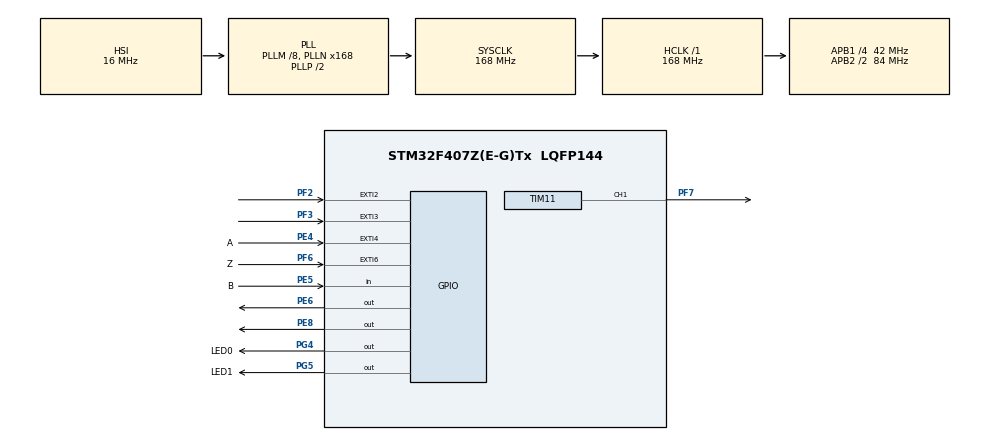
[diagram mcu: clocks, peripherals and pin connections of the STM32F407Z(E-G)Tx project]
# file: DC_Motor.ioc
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Mcu.Family=STM32F4
Mcu.Name=STM32F407Z(E-G)Tx
Mcu.Package=LQFP144
NVIC.EXTI2_IRQn=true\:0\:0\:false\:false\:true\:true\:true\:true
NVIC.EXTI4_IRQn=true\:0\:0\:false\:false\:true\:true\:true\:true
NVIC.PriorityGroup=NVIC_PRIORITYGROUP_4
NVIC.TIM1_TRG_COM_TIM11_IRQn=true\:0\:0\:false\:false\:true\:true\:true\:true
NVIC.TIM6_DAC_IRQn=true\:0\:0\:false\:false\:true\:true\:true\:true
NVIC.TIM7_IRQn=true\:0\:0\:false\:false\:true\:true\:true\:true
PE4.GPIO_Label=A
PE4.GPIO_ModeDefaultEXTI=GPIO_MODE_IT_RISING
PE4.Signal=GPXTI4
PE5.GPIO_Label=B
PE5.Signal=GPIO_Input
PE6.Signal=GPIO_Output
PE8.Signal=GPIO_Output
PF2.Signal=GPXTI2
PF3.Signal=GPXTI3
PF6.GPIO_Label=Z
PF6.Signal=GPXTI6
PF7.Signal=S_TIM11_CH1
PG4.GPIO_Label=LED0
PG4.Signal=GPIO_Output
PG5.GPIO_Label=LED1
PG5.Signal=GPIO_Output
ProjectManager.HeapSize=0x200
ProjectManager.StackSize=0x400
ProjectManager.TargetToolchain=STM32CubeIDE
RCC.48MHZClocksFreq_Value=84000000
RCC.AHBFreq_Value=168000000
RCC.APB1CLKDivider=RCC_HCLK_DIV4
RCC.APB1Freq_Value=42000000
RCC.APB1TimFreq_Value=84000000
RCC.APB2CLKDivider=RCC_HCLK_DIV2
RCC.APB2Freq_Value=84000000
RCC.APB2TimFreq_Value=168000000
RCC.CortexFreq_Value=168000000
RCC.HCLKFreq_Value=168000000
RCC.HSE_VALUE=25000000
RCC.HSI_VALUE=16000000
RCC.LSE_VALUE=32768
RCC.PLLM=8
RCC.PLLN=168
RCC.SYSCLKFreq_VALUE=168000000
RCC.SYSCLKSource=RCC_SYSCLKSOURCE_PLLCLK
RCC.VCOOutputFreq_Value=336000000
SH.S_TIM11_CH1.0=TIM11_CH1,PWM Generation1 CH1
TIM11.AutoReloadPreload=TIM_AUTORELOAD_PRELOAD_DISABLE
TIM11.Channel=TIM_CHANNEL_1
TIM11.Period=999
TIM11.Prescaler=10
TIM6.AutoReloadPreload=TIM_AUTORELOAD_PRELOAD_ENABLE
TIM6.Period=9999
TIM6.Prescaler=839
TIM6.TIM_MasterOutputTrigger=TIM_TRGO_UPDATE
TIM7.AutoReloadPreload=TIM_AUTORELOAD_PRELOAD_ENABLE
TIM7.Period=9999
TIM7.Prescaler=41
TIM7.TIM_MasterOutputTrigger=TIM_TRGO_UPDATE
VP_TIM11_VS_ClockSourceINT.Mode=Enable_Timer
VP_TIM6_VS_ClockSourceINT.Mode=Enable_Timer
VP_TIM7_VS_ClockSourceINT.Mode=Enable_Timer
board=custom

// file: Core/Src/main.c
/* USER CODE BEGIN Header */
/**
  ******************************************************************************
  * @file           : main.c
  * @brief          : Main program body
  ******************************************************************************
  * @attention
  *
  * Copyright (c) 2024 STMicroelectronics.
  * All rights reserved.
  *
  * This software is licensed under terms that can be found in the LICENSE file
  * in the root directory of this software component.
  * If no LICENSE file comes with this software, it is provided AS-IS.
  *
  ******************************************************************************
  */
/* USER CODE END Header */
#include "main.h"

TIM_HandleTypeDef htim6;
TIM_HandleTypeDef htim7;
TIM_HandleTypeDef htim11;

/* USER CODE BEGIN PV */
int i=0, v=0, counter = 0;
int i_current = 0;
float angle =0 , velocity = 0, V = 800, A = 0;
uint8_t direction =0;
float K_P = 0.01f, K_I = 0.2f, K_a = 0.05f;
int Ts = 10;
float e=0, e_pre=0, u=0, u_pre=0;
/* USER CODE END PV */

void SystemClock_Config(void);
static void MX_GPIO_Init(void);
static void MX_TIM6_Init(void);
static void MX_TIM11_Init(void);
static void MX_TIM7_Init(void);

/* USER CODE BEGIN 0 */

float getVelocity(void){
	int abs_v = v>0? v:-v;
	return (abs_v * 200.0 * 60.0 /1024.0);
}

float getAngle(void){
	return i_current%1024 * 360.0 /1024.0;
}

uint8_t getDir(void){
	return i>0 ? 1:0;
}

void setDir(uint8_t dir){
	HAL_GPIO_WritePin(GPIOE, GPIO_PIN_6, dir);
}

void setDuty(uint16_t duty){
	TIM11->CCR1 = duty;
}

void setTs(uint8_t Ts){
	TIM6->ARR = Ts*100-1;
}

void turnLED(uint8_t led,uint8_t status){
	if (led==0){
		HAL_GPIO_WritePin(LED0_GPIO_Port, LED0_Pin, status);
	}
	else if (led==1){
		HAL_GPIO_WritePin(LED1_GPIO_Port, LED1_Pin, status);
	}
}

void Vout2PWM(float u){
	float abs_u = u>0? u:-u;
	if(u>=-12 && u<=12)
		setDuty(abs_u/12*1000);
	else
		setDuty(1000);
	setDir(u<0 ? 1:0);
}

/* USER CODE END 0 */

int main(void)
{

  /* MCU Configuration--------------------------------------------------------*/

  /* Reset of all peripherals, Initializes the Flash interface and the Systick. */
  HAL_Init();

  /* Configure the system clock */
  SystemClock_Config();

  /* Initialize all configured peripherals */
  MX_GPIO_Init();
  MX_TIM6_Init();
  MX_TIM11_Init();
  MX_TIM7_Init();
  /* USER CODE BEGIN 2 */

  HAL_TIM_Base_Start_IT(&htim6);
  HAL_TIM_Base_Start_IT(&htim7);
  TIM11->CCR1 = 0;
  HAL_TIM_PWM_Start(&htim11, TIM_CHANNEL_1);

  setTs(Ts);
  /* USER CODE END 2 */

  /* Infinite loop */
  /* USER CODE BEGIN WHILE */
  while (1)
  {
	  angle = getAngle();
	  velocity = getVelocity();
	  direction = getDir();
	  HAL_Delay(800);
	  turnLED(0,1);
	  HAL_Delay(800);
	  turnLED(0,0);
    /* USER CODE END WHILE */

  }
}

void SystemClock_Config(void)
{
  RCC_OscInitTypeDef RCC_OscInitStruct = {0};
  RCC_ClkInitTypeDef RCC_ClkInitStruct = {0};

  /** Configure the main internal regulator output voltage
  */
  __HAL_RCC_PWR_CLK_ENABLE();
  __HAL_PWR_VOLTAGESCALING_CONFIG(PWR_REGULATOR_VOLTAGE_SCALE1);

  /** Initializes the RCC Oscillators according to the specified parameters
  * in the RCC_OscInitTypeDef structure.
  */
  RCC_OscInitStruct.OscillatorType = RCC_OSCILLATORTYPE_HSI;
  RCC_OscInitStruct.HSIState = RCC_HSI_ON;
  RCC_OscInitStruct.HSICalibrationValue = RCC_HSICALIBRATION_DEFAULT;
  RCC_OscInitStruct.PLL.PLLState = RCC_PLL_ON;
  RCC_OscInitStruct.PLL.PLLSource = RCC_PLLSOURCE_HSI;
  RCC_OscInitStruct.PLL.PLLM = 8;
  RCC_OscInitStruct.PLL.PLLN = 168;
  RCC_OscInitStruct.PLL.PLLP = RCC_PLLP_DIV2;
  RCC_OscInitStruct.PLL.PLLQ = 4;
  if (HAL_RCC_OscConfig(&RCC_OscInitStruct) != HAL_OK)
  {
    Error_Handler();
  }

  /** Initializes the CPU, AHB and APB buses clocks
  */
  RCC_ClkInitStruct.ClockType = RCC_CLOCKTYPE_HCLK|RCC_CLOCKTYPE_SYSCLK
                              |RCC_CLOCKTYPE_PCLK1|RCC_CLOCKTYPE_PCLK2;
  RCC_ClkInitStruct.SYSCLKSource = RCC_SYSCLKSOURCE_PLLCLK;
  RCC_ClkInitStruct.AHBCLKDivider = RCC_SYSCLK_DIV1;
  RCC_ClkInitStruct.APB1CLKDivider = RCC_HCLK_DIV4;
  RCC_ClkInitStruct.APB2CLKDivider = RCC_HCLK_DIV2;

  if (HAL_RCC_ClockConfig(&RCC_ClkInitStruct, FLASH_LATENCY_5) != HAL_OK)
  {
    Error_Handler();
  }
}

static void MX_TIM6_Init(void)
{

  TIM_MasterConfigTypeDef sMasterConfig = {0};

  htim6.Instance = TIM6;
  htim6.Init.Prescaler = 839;
  htim6.Init.CounterMode = TIM_COUNTERMODE_UP;
  htim6.Init.Period = 9999;
  htim6.Init.AutoReloadPreload = TIM_AUTORELOAD_PRELOAD_ENABLE;
  if (HAL_TIM_Base_Init(&htim6) != HAL_OK)
  {
    Error_Handler();
  }
  sMasterConfig.MasterOutputTrigger = TIM_TRGO_UPDATE;
  sMasterConfig.MasterSlaveMode = TIM_MASTERSLAVEMODE_DISABLE;
  if (HAL_TIMEx_MasterConfigSynchronization(&htim6, &sMasterConfig) != HAL_OK)
  {
    Error_Handler();
  }

}

static void MX_TIM7_Init(void)
{

  TIM_MasterConfigTypeDef sMasterConfig = {0};

  htim7.Instance = TIM7;
  htim7.Init.Prescaler = 41;
  htim7.Init.CounterMode = TIM_COUNTERMODE_UP;
  htim7.Init.Period = 9999;
  htim7.Init.AutoReloadPreload = TIM_AUTORELOAD_PRELOAD_ENABLE;
  if (HAL_TIM_Base_Init(&htim7) != HAL_OK)
  {
    Error_Handler();
  }
  sMasterConfig.MasterOutputTrigger = TIM_TRGO_UPDATE;
  sMasterConfig.MasterSlaveMode = TIM_MASTERSLAVEMODE_DISABLE;
  if (HAL_TIMEx_MasterConfigSynchronization(&htim7, &sMasterConfig) != HAL_OK)
  {
    Error_Handler();
  }

}

static void MX_TIM11_Init(void)
{

  TIM_OC_InitTypeDef sConfigOC = {0};

  htim11.Instance = TIM11;
  htim11.Init.Prescaler = 10;
  htim11.Init.CounterMode = TIM_COUNTERMODE_UP;
  htim11.Init.Period = 999;
  htim11.Init.ClockDivision = TIM_CLOCKDIVISION_DIV1;
  htim11.Init.AutoReloadPreload = TIM_AUTORELOAD_PRELOAD_DISABLE;
  if (HAL_TIM_Base_Init(&htim11) != HAL_OK)
  {
    Error_Handler();
  }
  if (HAL_TIM_PWM_Init(&htim11) != HAL_OK)
  {
    Error_Handler();
  }
  sConfigOC.OCMode = TIM_OCMODE_PWM1;
  sConfigOC.Pulse = 0;
  sConfigOC.OCPolarity = TIM_OCPOLARITY_HIGH;
  sConfigOC.OCFastMode = TIM_OCFAST_DISABLE;
  if (HAL_TIM_PWM_ConfigChannel(&htim11, &sConfigOC, TIM_CHANNEL_1) != HAL_OK)
  {
    Error_Handler();
  }
  HAL_TIM_MspPostInit(&htim11);

}

static void MX_GPIO_Init(void)
{
  GPIO_InitTypeDef GPIO_InitStruct = {0};

  /* GPIO Ports Clock Enable */
  __HAL_RCC_GPIOE_CLK_ENABLE();
  __HAL_RCC_GPIOF_CLK_ENABLE();
  __HAL_RCC_GPIOG_CLK_ENABLE();

  /*Configure GPIO pin Output Level */
  HAL_GPIO_WritePin(GPIOE, GPIO_PIN_6|GPIO_PIN_8, GPIO_PIN_RESET);

  /*Configure GPIO pin Output Level */
  HAL_GPIO_WritePin(GPIOG, LED0_Pin|LED1_Pin, GPIO_PIN_RESET);

  /*Configure GPIO pin : A_Pin */
  GPIO_InitStruct.Pin = A_Pin;
  GPIO_InitStruct.Mode = GPIO_MODE_IT_RISING;
  GPIO_InitStruct.Pull = GPIO_NOPULL;
  HAL_GPIO_Init(A_GPIO_Port, &GPIO_InitStruct);

  /*Configure GPIO pin : B_Pin */
  GPIO_InitStruct.Pin = B_Pin;
  GPIO_InitStruct.Mode = GPIO_MODE_INPUT;
  GPIO_InitStruct.Pull = GPIO_NOPULL;
  HAL_GPIO_Init(B_GPIO_Port, &GPIO_InitStruct);

  /*Configure GPIO pins : PE6 PE8 */
  GPIO_InitStruct.Pin = GPIO_PIN_6|GPIO_PIN_8;
  GPIO_InitStruct.Mode = GPIO_MODE_OUTPUT_PP;
  GPIO_InitStruct.Pull = GPIO_NOPULL;
  GPIO_InitStruct.Speed = GPIO_SPEED_FREQ_LOW;
  HAL_GPIO_Init(GPIOE, &GPIO_InitStruct);

  /*Configure GPIO pins : PF2 PF3 Z_Pin */
  GPIO_InitStruct.Pin = GPIO_PIN_2|GPIO_PIN_3|Z_Pin;
  GPIO_InitStruct.Mode = GPIO_MODE_IT_RISING;
  GPIO_InitStruct.Pull = GPIO_NOPULL;
  HAL_GPIO_Init(GPIOF, &GPIO_InitStruct);

  /*Configure GPIO pins : LED0_Pin LED1_Pin */
  GPIO_InitStruct.Pin = LED0_Pin|LED1_Pin;
  GPIO_InitStruct.Mode = GPIO_MODE_OUTPUT_PP;
  GPIO_InitStruct.Pull = GPIO_NOPULL;
  GPIO_InitStruct.Speed = GPIO_SPEED_FREQ_LOW;
  HAL_GPIO_Init(GPIOG, &GPIO_InitStruct);

  /* EXTI interrupt init*/
  HAL_NVIC_SetPriority(EXTI2_IRQn, 0, 0);
  HAL_NVIC_EnableIRQ(EXTI2_IRQn);

  HAL_NVIC_SetPriority(EXTI4_IRQn, 0, 0);
  HAL_NVIC_EnableIRQ(EXTI4_IRQn);

}

/* USER CODE BEGIN 4 */

void HAL_GPIO_EXTI_Callback(uint16_t GPIO_Pin){
	if(GPIO_Pin == A_Pin) {
		if(HAL_GPIO_ReadPin(B_GPIO_Port, B_Pin))
			i++;
		else
			i--;
	} else if (GPIO_Pin == Z_Pin){
		i_current = 0;
	}
}

void HAL_TIM_PeriodElapsedCallback(TIM_HandleTypeDef *htim){
	float Vdb = 3.2f, sp=0;
	if(htim->Instance == TIM7){
		v = i;
		i_current += i;
		i = 0;
	}
	// angle controller
		if(htim->Instance == TIM6){
			counter++;
			if(counter==1000){
				A = A + 30;
				counter = 0;
			}

		// P controller
		//	e = A - getAngle();
		//	u = e*K_a;
		//	Vout2PWM(u);

		// Deadbeat controller
			e = A - getAngle();
			u = 0.656*e - 0.606*e_pre - 0.493*u;
			e_pre = e;
			if(u < Vdb && u > 0){
				u = Vdb;
			} else if(u > -Vdb && u<0){
				u = -Vdb;
			}

			Vout2PWM(u);
		}

	// 	velocity controller
	//	if(htim->Instance == TIM6){
	//		counter++;
	//		if(counter==1000){
	//			V = V==800 ? 1400 : 800;
	//			counter = 0;
	//		}
	//
	//		e = V - getVelocity();
	//		u = u_pre + e*(K_P+K_I*(Ts/1000.0f)) - e_pre*K_P;
	//		u_pre = u;
	//		e_pre = e;
	//		Vout2PWM(u);
	//	}

}
/* USER CODE END 4 */

void Error_Handler(void)
{
  __disable_irq();
  while (1)
  {
  }
}
